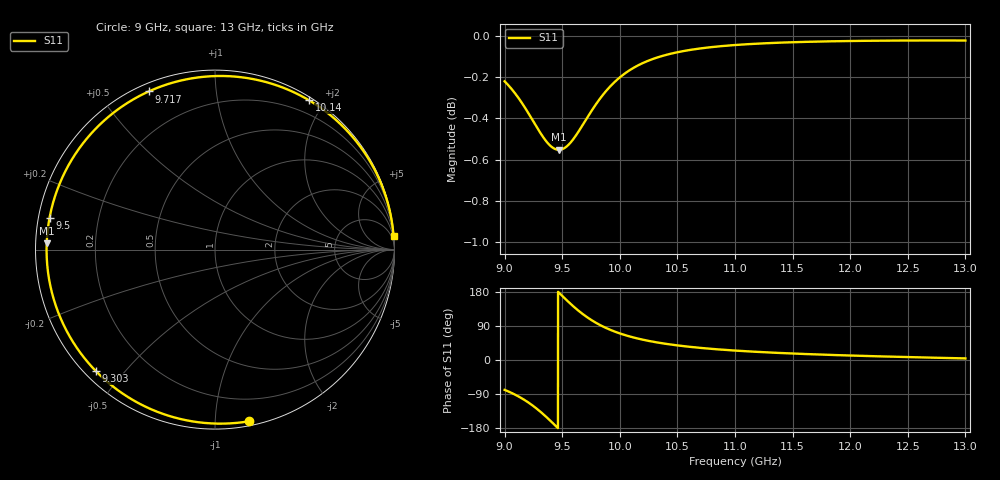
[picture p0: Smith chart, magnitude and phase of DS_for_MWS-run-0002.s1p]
! TOUCHSTONE file generated by CST DESIGN STUDIO
! Date and time: Tue Feb  4 18:07:09 2025
! Project name: C:\Work\MatlabApps\UnitCellOptimizationMatlab\CST\unitcell.cst
! Tree item: Tasks\Sweep1\SPara1\S-Parameters
! Header version: 2024
! Port assignment regex: !\s*Touchstone port\s*([0-9]+)\s*=\s*(CST MWS port|CST DES external port|CST DES block port)\s*(.+)\s* \(\"(.*)\"\)(\s*mode\s*([0-9]+))?.*
! Touchstone port assignment:
! Touchstone port 1 = CST DES external port 1 ("")
# GHz S MA R 50
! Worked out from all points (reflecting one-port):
!   4001 points, 9 GHz to 13 GHz, reference 50 ohm
!   lowest |S11| = -0.6 dB at 9.471 GHz (marker M1), VSWR 31.46, Z = 1.59 + j0.962 ohm
!   phase of S11 starts at -79 deg and turns -277 deg over the sweep
!   S11 on the Smith chart (normalised r, x): 9 GHz: 0.03, -1.22; 9.303 GHz: 0.03, -0.42; 9.5 GHz: 0.03, +0.09; 9.717 GHz: 0.03, +0.66; 10.14 GHz: 0.04, +1.81; 13 GHz: 1, +27
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9  0.9751 -78.8
9.074  0.9698 -88.8
9.125  0.9656 -96.9
9.171  0.9613 -105.2
9.239  0.9545 -119.2
9.303  0.948 -134.5
9.347  0.944 -146.1
9.394  0.9407 -159.4
9.433  0.939 -170.8
9.471  0.9384 177.8
9.5  0.9387 169.1
9.552  0.9409 154.0
9.612  0.9453 137.5
9.664  0.9502 124.6
9.717  0.9554 112.7
9.773  0.9608 101.7
9.836  0.9663 91.1
9.916  0.9722 79.8
10  0.9772 70.1
10.14  0.9832 57.8
10.303  0.9877 47.4
10.5  0.9911 38.5
10.722  0.9934 31.3
11  0.9951 24.9
11.5  0.9966 17.1
12  0.9973 11.8
12.5  0.9976 7.7
13  0.9976 4.2
